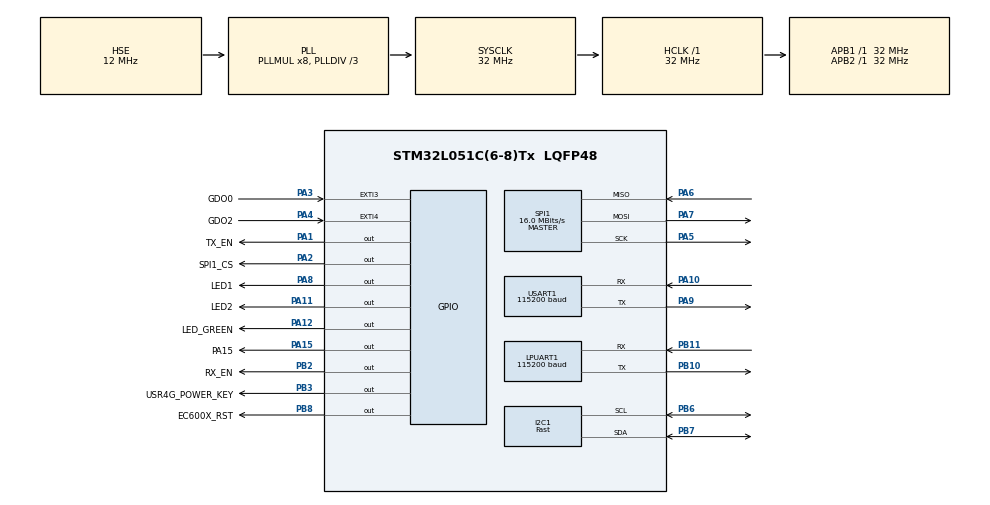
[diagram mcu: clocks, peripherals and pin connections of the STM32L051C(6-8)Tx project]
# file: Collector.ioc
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CRC.DefaultInitValueUse=DEFAULT_INIT_VALUE_ENABLE
CRC.DefaultPolynomialUse=DEFAULT_POLYNOMIAL_ENABLE
CRC.InputDataFormat=CRC_INPUTDATA_FORMAT_BYTES
CRC.InputDataInversionMode=CRC_INPUTDATA_INVERSION_BYTE
CRC.OutputDataInversionMode=CRC_OUTPUTDATA_INVERSION_ENABLE
Dma.Request0=USART1_RX
Dma.Request1=USART1_TX
Dma.USART1_RX.0.Direction=DMA_PERIPH_TO_MEMORY
Dma.USART1_RX.0.Instance=DMA1_Channel3
Dma.USART1_RX.0.MemDataAlignment=DMA_MDATAALIGN_BYTE
Dma.USART1_RX.0.MemInc=DMA_MINC_ENABLE
Dma.USART1_RX.0.Mode=DMA_CIRCULAR
Dma.USART1_RX.0.PeriphDataAlignment=DMA_PDATAALIGN_BYTE
Dma.USART1_RX.0.PeriphInc=DMA_PINC_DISABLE
Dma.USART1_RX.0.Priority=DMA_PRIORITY_LOW
Dma.USART1_TX.1.Direction=DMA_MEMORY_TO_PERIPH
Dma.USART1_TX.1.Instance=DMA1_Channel2
Dma.USART1_TX.1.MemDataAlignment=DMA_MDATAALIGN_BYTE
Dma.USART1_TX.1.MemInc=DMA_MINC_ENABLE
Dma.USART1_TX.1.Mode=DMA_NORMAL
Dma.USART1_TX.1.PeriphDataAlignment=DMA_PDATAALIGN_BYTE
Dma.USART1_TX.1.PeriphInc=DMA_PINC_DISABLE
Dma.USART1_TX.1.Priority=DMA_PRIORITY_LOW
FREERTOS.BinarySemaphores01=rxBufferBinarySem,Dynamic,NULL
FREERTOS.HEAP_NUMBER=4
FREERTOS.Queues01=usartRxQueue,16,uint32_t,0,Dynamic,NULL,NULL
FREERTOS.Tasks01=usartRxDmaTask,2,128,StartUsartRxDmaTask,Default,NULL,Dynamic,NULL,NULL;iicConvertTask,-2,128,StartIICConvertTask,Default,NULL,Dynamic,NULL,NULL;usartRxCmdTask,0,128,StartUsartRxCmdTask,Default,NULL,Dynamic,NULL,NULL;heartbeatTask,-2,128,StartHeartbeatMonitorTask,Default,NULL,Dynamic,NULL,NULL
FREERTOS.configMINIMAL_STACK_SIZE=128
FREERTOS.configTOTAL_HEAP_SIZE=3072
FREERTOS.configUSE_IDLE_HOOK=1
I2C1.I2C_Rise_Time=300
I2C1.I2C_Speed_Mode=I2C_Fast
I2C1.Timing=0x00C00F2B
IWDG.Prescaler=IWDG_PRESCALER_256
LPTIM1.ClockPrescaler=LPTIM_PRESCALER_DIV128
LPUART1.BaudRate=115200
LPUART1.OneBitSampling=UART_ONE_BIT_SAMPLE_DISABLE
LPUART1.WordLength=UART_WORDLENGTH_8B
Mcu.Family=STM32L0
Mcu.Name=STM32L051C(6-8)Tx
Mcu.Package=LQFP48
NVIC.DMA1_Channel2_3_IRQn=true\:3\:0\:false\:false\:true\:true\:false\:true\:true
NVIC.EXTI2_3_IRQn=true\:3\:0\:true\:false\:true\:true\:true\:true\:true
NVIC.EXTI4_15_IRQn=true\:3\:0\:true\:false\:true\:true\:true\:true\:true
NVIC.LPTIM1_IRQn=true\:3\:0\:true\:false\:true\:true\:true\:true\:true
NVIC.TIM2_IRQn=true\:3\:0\:true\:false\:true\:false\:false\:true\:true
NVIC.TimeBase=TIM2_IRQn
NVIC.TimeBaseIP=TIM2
NVIC.USART1_IRQn=true\:3\:0\:false\:false\:true\:true\:true\:true\:true
PA1.GPIO_Label=TX_EN
PA1.Signal=GPIO_Output
PA10.Mode=Asynchronous
PA10.Signal=USART1_RX
PA11.GPIO_Label=LED2
PA11.Signal=GPIO_Output
PA12.GPIO_Label=LED_GREEN
PA12.Signal=GPIO_Output
PA13.Mode=Serial_Wire
PA13.Signal=SYS_SWDIO
PA14.Mode=Serial_Wire
PA14.Signal=SYS_SWCLK
PA15.GPIO_Label=PA15
PA15.Signal=GPIO_Output
PA2.GPIO_Label=SPI1_CS
PA2.GPIO_PuPd=GPIO_PULLUP
PA2.PinState=GPIO_PIN_SET
PA2.Signal=GPIO_Output
PA3.GPIO_Label=GDO0
PA3.GPIO_ModeDefaultEXTI=GPIO_MODE_IT_RISING_FALLING
PA3.GPIO_PuPd=GPIO_NOPULL
PA3.Signal=GPXTI3
PA4.GPIO_Label=GDO2
PA4.GPIO_ModeDefaultEXTI=GPIO_MODE_IT_FALLING
PA4.GPIO_PuPd=GPIO_NOPULL
PA4.Signal=GPXTI4
PA5.Mode=Full_Duplex_Master
PA5.Signal=SPI1_SCK
PA6.Mode=Full_Duplex_Master
PA6.Signal=SPI1_MISO
PA7.Mode=Full_Duplex_Master
PA7.Signal=SPI1_MOSI
PA8.GPIO_Label=LED1
PA8.Signal=GPIO_Output
PA9.Mode=Asynchronous
PA9.Signal=USART1_TX
PB10.Mode=Asynchronous
PB10.Signal=LPUART1_TX
PB11.Mode=Asynchronous
PB11.Signal=LPUART1_RX
PB2.GPIO_Label=RX_EN
PB2.GPIO_PuPd=GPIO_NOPULL
PB2.PinState=GPIO_PIN_RESET
PB2.Signal=GPIO_Output
PB3.GPIO_Label=USR4G_POWER_KEY
PB3.GPIO_ModeDefaultOutputPP=GPIO_MODE_OUTPUT_PP
PB3.GPIO_PuPd=GPIO_PULLDOWN
PB3.PinState=GPIO_PIN_SET
PB3.Signal=GPIO_Output
PB6.Mode=I2C
PB6.Signal=I2C1_SCL
PB7.Mode=I2C
PB7.Signal=I2C1_SDA
PB8.GPIO_Label=EC600X_RST
PB8.GPIO_PuPd=GPIO_PULLUP
PB8.PinState=GPIO_PIN_SET
PB8.Signal=GPIO_Output
PC14-OSC32_IN.Mode=LSE-External-Oscillator
PC14-OSC32_IN.Signal=RCC_OSC32_IN
PC15-OSC32_OUT.Mode=LSE-External-Oscillator
PC15-OSC32_OUT.Signal=RCC_OSC32_OUT
PH0-OSC_IN.Mode=HSE-External-Oscillator
PH0-OSC_IN.Signal=RCC_OSC_IN
PH1-OSC_OUT.Mode=HSE-External-Oscillator
PH1-OSC_OUT.Signal=RCC_OSC_OUT
ProjectManager.HeapSize=0x200
ProjectManager.StackSize=0x400
ProjectManager.TargetToolchain=MDK-ARM V5.27
RCC.AHBFreq_Value=32000000
RCC.APB1Freq_Value=32000000
RCC.APB1TimFreq_Value=32000000
RCC.APB2Freq_Value=32000000
RCC.APB2TimFreq_Value=32000000
RCC.HCLKFreq_Value=32000000
RCC.HSE_VALUE=12000000
RCC.HSI16_VALUE=16000000
RCC.HSI_VALUE=16000000
RCC.LptimClockSelection=RCC_LPTIM1CLKSOURCE_LSE
RCC.MSI_VALUE=2097000
RCC.PLLDIV=RCC_PLLDIV_3
RCC.PLLMUL=RCC_PLLMUL_8
RCC.PLLSourceVirtual=RCC_PLLSOURCE_HSE
RCC.RTCClockSelection=RCC_RTCCLKSOURCE_LSE
RCC.RTCClockSelectionVirtual=RCC_RTCCLKSOURCE_LSE
RCC.SYSCLKFreq_VALUE=32000000
RCC.SYSCLKSource=RCC_SYSCLKSOURCE_PLLCLK
RCC.VCOOutputFreq_Value=96000000
RTC.Format=RTC_FORMAT_BIN
SPI1.BaudRatePrescaler=SPI_BAUDRATEPRESCALER_2
SPI1.CalculateBaudRate=16.0 MBits/s
SPI1.Direction=SPI_DIRECTION_2LINES
SPI1.Mode=SPI_MODE_MASTER
SPI1.VirtualType=VM_MASTER
USART1.BaudRate=115200
USART1.VirtualMode-Asynchronous=VM_ASYNC
VP_CRC_VS_CRC.Mode=CRC_Activate
VP_FREERTOS_VS_CMSIS_V1.Mode=CMSIS_V1
VP_IWDG_VS_IWDG.Mode=IWDG_Activate
VP_LPTIM1_VS_LPTIM_counterModeInternalClock.Mode=Counts__internal_clock_event_00
VP_RTC_VS_RTC_Activate.Mode=RTC_Enabled
VP_RTC_VS_RTC_Calendar.Mode=RTC_Calendar
VP_SYS_VS_tim2.Mode=TIM2
board=custom

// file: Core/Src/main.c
/* USER CODE BEGIN Header */
/**
 ******************************************************************************
 * @file           : main.c
 * @brief          : Main program body
 ******************************************************************************
 * @attention
 *
 * <h2><center>&copy; Copyright (c) 2022 STMicroelectronics.
 * All rights reserved.</center></h2>
 *
 * This software component is licensed by ST under Ultimate Liberty license
 * SLA0044, the "License"; You may not use this file except in compliance with
 * the License. You may obtain a copy of the License at:
 *                             www.st.com/SLA0044
 *
 ******************************************************************************
 */
/* USER CODE END Header */
#include "main.h"
#include "cmsis_os.h"
#include "crc.h"
#include "dma.h"
#include "i2c.h"
#include "iwdg.h"
#include "lptim.h"
#include "usart.h"
#include "rtc.h"
#include "spi.h"
#include "gpio.h"

/* USER CODE BEGIN Includes */
#include "cc1101.h"
/* USER CODE END Includes */

/* USER CODE BEGIN PD */
__IO uint32_t CollectorID;
/* USER CODE END PD */

void SystemClock_Config(void);
void MX_FREERTOS_Init(void);

int main(void)
{

  /* MCU Configuration--------------------------------------------------------*/

  /* Reset of all peripherals, Initializes the Flash interface and the Systick. */
  HAL_Init();

  /* Configure the system clock */
  SystemClock_Config();

  /* USER CODE BEGIN SysInit */
  // MX_DMA_Init(); must before MX_USART1_UART_Init(); or MX_LPUART1_UART_Init();
  /* USER CODE END SysInit */

  /* Initialize all configured peripherals */
  MX_GPIO_Init();
  MX_DMA_Init();
  MX_USART1_UART_Init();
  MX_SPI1_Init();
  MX_IWDG_Init();
  MX_RTC_Init();
  MX_CRC_Init();
  MX_LPUART1_UART_Init();
  MX_I2C1_Init();
  MX_LPTIM1_Init();
  /* USER CODE BEGIN 2 */
  SystemInitial();
  /* USER CODE END 2 */

  /* Call init function for freertos objects (in cmsis_os2.c) */
  MX_FREERTOS_Init();

  /* Start scheduler */
  osKernelStart();

  /* We should never get here as control is now taken by the scheduler */

  /* Infinite loop */
  while (1)
  {

  }
}

void SystemClock_Config(void)
{
  RCC_OscInitTypeDef RCC_OscInitStruct = {0};
  RCC_ClkInitTypeDef RCC_ClkInitStruct = {0};
  RCC_PeriphCLKInitTypeDef PeriphClkInit = {0};

  /** Configure the main internal regulator output voltage
  */
  __HAL_PWR_VOLTAGESCALING_CONFIG(PWR_REGULATOR_VOLTAGE_SCALE1);

  /** Configure LSE Drive Capability
  */
  HAL_PWR_EnableBkUpAccess();
  __HAL_RCC_LSEDRIVE_CONFIG(RCC_LSEDRIVE_LOW);

  /** Initializes the RCC Oscillators according to the specified parameters
  * in the RCC_OscInitTypeDef structure.
  */
  RCC_OscInitStruct.OscillatorType = RCC_OSCILLATORTYPE_LSI|RCC_OSCILLATORTYPE_HSE
                              |RCC_OSCILLATORTYPE_LSE;
  RCC_OscInitStruct.HSEState = RCC_HSE_ON;
  RCC_OscInitStruct.LSEState = RCC_LSE_ON;
  RCC_OscInitStruct.LSIState = RCC_LSI_ON;
  RCC_OscInitStruct.PLL.PLLState = RCC_PLL_ON;
  RCC_OscInitStruct.PLL.PLLSource = RCC_PLLSOURCE_HSE;
  RCC_OscInitStruct.PLL.PLLMUL = RCC_PLLMUL_8;
  RCC_OscInitStruct.PLL.PLLDIV = RCC_PLLDIV_3;
  if (HAL_RCC_OscConfig(&RCC_OscInitStruct) != HAL_OK)
  {
    Error_Handler();
  }

  /** Initializes the CPU, AHB and APB buses clocks
  */
  RCC_ClkInitStruct.ClockType = RCC_CLOCKTYPE_HCLK|RCC_CLOCKTYPE_SYSCLK
                              |RCC_CLOCKTYPE_PCLK1|RCC_CLOCKTYPE_PCLK2;
  RCC_ClkInitStruct.SYSCLKSource = RCC_SYSCLKSOURCE_PLLCLK;
  RCC_ClkInitStruct.AHBCLKDivider = RCC_SYSCLK_DIV1;
  RCC_ClkInitStruct.APB1CLKDivider = RCC_HCLK_DIV1;
  RCC_ClkInitStruct.APB2CLKDivider = RCC_HCLK_DIV1;

  if (HAL_RCC_ClockConfig(&RCC_ClkInitStruct, FLASH_LATENCY_1) != HAL_OK)
  {
    Error_Handler();
  }
  PeriphClkInit.PeriphClockSelection = RCC_PERIPHCLK_USART1|RCC_PERIPHCLK_LPUART1
                              |RCC_PERIPHCLK_I2C1|RCC_PERIPHCLK_RTC
                              |RCC_PERIPHCLK_LPTIM1;
  PeriphClkInit.Usart1ClockSelection = RCC_USART1CLKSOURCE_PCLK2;
  PeriphClkInit.Lpuart1ClockSelection = RCC_LPUART1CLKSOURCE_PCLK1;
  PeriphClkInit.I2c1ClockSelection = RCC_I2C1CLKSOURCE_PCLK1;
  PeriphClkInit.RTCClockSelection = RCC_RTCCLKSOURCE_LSE;
  PeriphClkInit.LptimClockSelection = RCC_LPTIM1CLKSOURCE_LSE;

  if (HAL_RCCEx_PeriphCLKConfig(&PeriphClkInit) != HAL_OK)
  {
    Error_Handler();
  }
}

/* USER CODE BEGIN 4 */
// ##################################################################################################################
void SystemInitial(void)
{
  Activate_SPI();

  if (HAL_IWDG_Refresh(&hiwdg) != HAL_OK)
  {
    Error_Handler();
  }

  ModuleLtePowerOn();
  CollectorID = DATAEEPROM_Read(EEPROM_START_ADDR);
  CC1101_POWER_ON();
  RFIDInitial(0xEF, 0x1234, RX_MODE);
  HAL_Delay(10000);

  if (HAL_IWDG_Refresh(&hiwdg) != HAL_OK)
  {
    Error_Handler();
  }

  HAL_Delay(10000);

  if (HAL_IWDG_Refresh(&hiwdg) != HAL_OK)
  {
    Error_Handler();
  }
}
// ##################################################################################################################
void ShowMessage(void)
{
  /* Print Open Massage */
  printf("######################################################################\n");
  printf("#------------------Collector Program Start Running-------------------#\n");
  printf("#------------------------CollectorID:%08x------------------------#\n", CollectorID);
  printf("#--------------Using LPUART1,Configuration:%d 8-N-1--------------#\n", 115200);
  printf("#USART RX Method: DMA HT & TC + USART IDLE LINE IRQ + RTOS processing#\n");
  printf("######################################################################\n");
}
// ##################################################################################################################
void ModuleLtePowerOn(void)
{
  USR4G_POWER_KEY_OFF();
  HAL_Delay(2000);
  USR4G_POWER_KEY_ON();
  printf("##LTE Module Power On Complete##\n");
}
// ##################################################################################################################
void strcatArray(uint8_t *dest, uint8_t *src, uint8_t position, uint8_t srclen)
{
  if (srclen == 0x00)
  {
    for (uint8_t i = 0; i < sizeof(src); i++)
      dest[i + position] = src[i];
  }
  else
  {
    for (uint8_t i = 0; i < srclen; i++)
      dest[i + position] = src[i];
  }
}
// ##################################################################################################################
uint8_t AsciiToHex(uint8_t *pAscii, uint8_t *pHex, uint16_t nLen)
{
  uint16_t nHexLen = nLen / 2;
  uint8_t Nibble[2] = {0};
  uint16_t i = 0;
  uint16_t j = 0;

  if (nLen % 2)
  {
    return 1;
  }

  for (i = 0; i < nHexLen; i++)
  {
    Nibble[0] = *pAscii++;
    Nibble[1] = *pAscii++;

    for (j = 0; j < 2; j++)
    {
      if (Nibble[j] <= 'F' && Nibble[j] >= 'A')
        Nibble[j] = Nibble[j] - 'A' + 10;
      else if (Nibble[j] <= 'f' && Nibble[j] >= 'a')
        Nibble[j] = Nibble[j] - 'a' + 10;
      else if (Nibble[j] >= '0' && Nibble[j] <= '9')
        Nibble[j] = Nibble[j] - '0';
      else
        return 1; // Nibble[j] = Nibble[j] - 'a' + 10;

    } // for (int j = ...)

    pHex[i] = Nibble[0] << 4; // Set the high nibble
    pHex[i] |= Nibble[1];     // Set the low nibble
  } // for (int i = ...)

  return 0;
}
// ##################################################################################################################
void DATAEEPROM_Program(uint32_t Address, uint32_t Data)
{
  /* Unlocks the data memory and FLASH_PECR register access *************/
  if (HAL_FLASHEx_DATAEEPROM_Unlock() != HAL_OK)
  {
    Error_Handler();
  }

  /* Clear FLASH error pending bits */
  __HAL_FLASH_CLEAR_FLAG(FLASH_FLAG_WRPERR | FLASH_FLAG_SIZERR |
                         FLASH_FLAG_OPTVERR | FLASH_FLAG_RDERR |
                         FLASH_FLAG_FWWERR | FLASH_FLAG_NOTZEROERR);

  /*Erase a word in data memory *************/
  if (HAL_FLASHEx_DATAEEPROM_Erase(Address) != HAL_OK)
  {
    Error_Handler();
  }

  /*Enable DATA EEPROM fixed Time programming (2*Tprog) *************/
  HAL_FLASHEx_DATAEEPROM_EnableFixedTimeProgram();

  /* Program word at a specified address *************/
  if (HAL_FLASHEx_DATAEEPROM_Program(FLASH_TYPEPROGRAMDATA_WORD, Address, Data) != HAL_OK)
  {
    Error_Handler();
  }

  /*Disables DATA EEPROM fixed Time programming (2*Tprog) *************/
  HAL_FLASHEx_DATAEEPROM_DisableFixedTimeProgram();

  /* Locks the Data memory and FLASH_PECR register access. (recommended
   to protect the DATA_EEPROM against possible unwanted operation) *********/
  HAL_FLASHEx_DATAEEPROM_Lock();
}
// ##################################################################################################################
uint32_t DATAEEPROM_Read(uint32_t Address)
{
  return *(__IO uint32_t *)Address;
}
// ##################################################################################################################
void LED_Blinking(uint32_t Period)
{
  /* Toggle LED in an infinite loop */
  while (1)
  {
    LED_GREEN_TOG();
    HAL_Delay(Period);
  }
}
// ##################################################################################################################
/* USER CODE END 4 */

void HAL_TIM_PeriodElapsedCallback(TIM_HandleTypeDef *htim)
{
  if (htim->Instance == TIM2)
  {
    HAL_IncTick();
  }
}

void Error_Handler(void)
{
  /* USER CODE BEGIN Error_Handler_Debug */
  _Error_Handler(__FILE__, __LINE__);
  LED_Blinking(200);
  /* User can add his own implementation to report the HAL error return state */
  __disable_irq();

  while (1)
  {
  }

  /* USER CODE END Error_Handler_Debug */
}

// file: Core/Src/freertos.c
/* USER CODE BEGIN Header */
/**
 ******************************************************************************
 * File Name          : freertos.c
 * Description        : Code for freertos applications
 ******************************************************************************
 * @attention
 *
 * <h2><center>&copy; Copyright (c) 2022 STMicroelectronics.
 * All rights reserved.</center></h2>
 *
 * This software component is licensed by ST under Ultimate Liberty license
 * SLA0044, the "License"; You may not use this file except in compliance with
 * the License. You may obtain a copy of the License at:
 *                             www.st.com/SLA0044
 *
 ******************************************************************************
 */
/* USER CODE END Header */

#include "FreeRTOS.h"
#include "task.h"
#include "main.h"
#include "cmsis_os.h"

/* USER CODE BEGIN Includes */
#include "gpio.h"
#include "rtc.h"
#include "iwdg.h"
#include "usart.h"
#include "crc.h"
#include "cc1101.h"
#include "sgm58031.h"
#include "lptim.h"
#include <string.h>
/* USER CODE END Includes */

/* USER CODE BEGIN PD */
#define EEPROM_DATA_LENGTH 16         // buffer length
#define _SEND_TO_CLOUD_BUFFERSIZE 256 // tx buffer size
#define _ADC_VALUE_BUFFERSIZE 9       // ADC value buffer size
#define _COLLECTOR_ID_SIZE 4          // collectorID size
#define _FUNCTION_ID_SIZE 1           // functionID size
#define _UTC_TIME_SIZE 7              // UTC time size
#define _TAIL_SIZE 2                  // tail size
static uint8_t collectorIDBuffer[_COLLECTOR_ID_SIZE];
static uint8_t tailBuffer[2] = {0x0D, 0x0A};
static uint8_t sendToCloudBuffer[_SEND_TO_CLOUD_BUFFERSIZE];
static uint8_t adcValueBuffer[_ADC_VALUE_BUFFERSIZE];
static uint16_t TwoHoursCnt = 0;
static uint16_t TwentyMinutesCnt = 0;
static bool flip_sign = true;
#define HEARTBEAT_TIMEOUT_MS (10 * 60 * 1000) // 10分钟
static uint32_t lastHeartbeatTick = 0;
/* USER CODE END PD */

/* USER CODE BEGIN PM */
#define _FIFO_SAMPLES_LEN 900
#define _AXIS_LEN 150
typedef struct
{
    int16_t x;
    int16_t y;
    int16_t z;
} axis_info_t;

axis_info_t three_axis_info[_AXIS_LEN];
uint8_t fifo[_FIFO_SAMPLES_LEN];
/* USER CODE END PM */

osThreadId usartRxDmaTaskHandle;
osThreadId iicConvertTaskHandle;
osThreadId usartRxCmdTaskHandle;
osThreadId heartbeatTaskHandle;
osMessageQId usartRxQueueHandle;
osSemaphoreId rxBufferBinarySemHandle;

/* USER CODE BEGIN FunctionPrototypes */
void EepromCtrl(uint8_t *command);
void FunctionCtrl(uint8_t *command);
void SendToCloud(uint8_t functionID, uint8_t length);
void FireWater(uint8_t length);
/* USER CODE END FunctionPrototypes */

void StartUsartRxDmaTask(void const *argument);
void StartIICConvertTask(void const *argument);
void StartUsartRxCmdTask(void const *argument);
void StartHeartbeatMonitorTask(void const *argument);

void MX_FREERTOS_Init(void); /* (MISRA C 2004 rule 8.1) */

/* GetIdleTaskMemory prototype (linked to static allocation support) */
void vApplicationGetIdleTaskMemory(StaticTask_t **ppxIdleTaskTCBBuffer, StackType_t **ppxIdleTaskStackBuffer, uint32_t *pulIdleTaskStackSize);

/* Hook prototypes */
void vApplicationIdleHook(void);

/* USER CODE BEGIN 2 */
// 判断是否为心跳包（"Heartbeat"）
static int isHeartbeatPacket(const uint8_t *buf, uint16_t len)
{
    const char heartbeat[] = "Heartbeat";
    return (len == strlen(heartbeat) && memcmp(buf, heartbeat, strlen(heartbeat)) == 0);
}

__weak void vApplicationIdleHook(void)
{
    /* vApplicationIdleHook() will only be called if configUSE_IDLE_HOOK is set
    to 1 in FreeRTOSConfig.h. It will be called on each iteration of the idle
    task. It is essential that code added to this hook function never attempts
    to block in any way (for example, call xQueueReceive() with a block time
    specified, or call vTaskDelay()). If the application makes use of the
    vTaskDelete() API function (as this demo application does) then it is also
    important that vApplicationIdleHook() is permitted to return to its calling
    function, because it is the responsibility of the idle task to clean up
    memory allocated by the kernel to any task that has since been deleted. */
    SendToCloud(CC1101RecvHandler(), cc1101.length);

    if (HAL_IWDG_Refresh(&hiwdg) != HAL_OK)
    {
        Error_Handler();
    }
}
/* USER CODE END 2 */

/* USER CODE BEGIN GET_IDLE_TASK_MEMORY */
static StaticTask_t xIdleTaskTCBBuffer;
static StackType_t xIdleStack[configMINIMAL_STACK_SIZE];

void vApplicationGetIdleTaskMemory(StaticTask_t **ppxIdleTaskTCBBuffer, StackType_t **ppxIdleTaskStackBuffer, uint32_t *pulIdleTaskStackSize)
{
    *ppxIdleTaskTCBBuffer = &xIdleTaskTCBBuffer;
    *ppxIdleTaskStackBuffer = &xIdleStack[0];
    *pulIdleTaskStackSize = configMINIMAL_STACK_SIZE;
    /* place for user code */
}
/* USER CODE END GET_IDLE_TASK_MEMORY */

void MX_FREERTOS_Init(void)
{
    /* USER CODE BEGIN Init */
    collectorIDBuffer[0] = (uint8_t)(0xFF & CollectorID >> 24);
    collectorIDBuffer[1] = (uint8_t)(0xFF & CollectorID >> 16);
    collectorIDBuffer[2] = (uint8_t)(0xFF & CollectorID >> 8);
    collectorIDBuffer[3] = (uint8_t)(0xFF & CollectorID);
    /* USER CODE END Init */

    /* Create the semaphores(s) */
    /* definition and creation of rxBufferBinarySem */
    osSemaphoreDef(rxBufferBinarySem);
    rxBufferBinarySemHandle = osSemaphoreCreate(osSemaphore(rxBufferBinarySem), 1);

    /* Create the queue(s) */
    /* definition and creation of usartRxQueue */
    osMessageQDef(usartRxQueue, 16, uint32_t);
    usartRxQueueHandle = osMessageCreate(osMessageQ(usartRxQueue), NULL);

    /* Create the thread(s) */
    /* definition and creation of usartRxDmaTask */
    osThreadDef(usartRxDmaTask, StartUsartRxDmaTask, osPriorityHigh, 0, 128);
    usartRxDmaTaskHandle = osThreadCreate(osThread(usartRxDmaTask), NULL);

    /* definition and creation of iicConvertTask */
    osThreadDef(iicConvertTask, StartIICConvertTask, osPriorityLow, 0, 128);
    iicConvertTaskHandle = osThreadCreate(osThread(iicConvertTask), NULL);

    /* definition and creation of usartRxCmdTask */
    osThreadDef(usartRxCmdTask, StartUsartRxCmdTask, osPriorityNormal, 0, 128);
    usartRxCmdTaskHandle = osThreadCreate(osThread(usartRxCmdTask), NULL);

    /* definition and creation of heartbeatTask */
    osThreadDef(heartbeatTask, StartHeartbeatMonitorTask, osPriorityLow, 0, 128);
    heartbeatTaskHandle = osThreadCreate(osThread(heartbeatTask), NULL);

    /* USER CODE BEGIN RTOS_THREADS */
    /* add threads, ... */
    // follow code must be here!!!!!!
    ec600x_usart_init();
    Enable_LPUART1();
    memset(&lte, 0, sizeof(lte));
    ShowMessage();

#if (_SGM58031 == 1)

    flip_sign = true;

    if (SGM58031_Init(SGM58031_ADDR) != SGM58031_OK)
    {
        /* Initialization false */
        printf("#----sgm58031 initial false~!----#\n");
    }

#endif

    HAL_LPTIM_Counter_Start_IT(&hlptim1, 0x3FF);
    /* USER CODE END RTOS_THREADS */
}

void StartUsartRxDmaTask(void const *argument)
{
    /* USER CODE BEGIN StartUsartRxDmaTask */
    /* Infinite loop */
    for (;;)
    {
        /* Block thread and wait for event to process USART data */
        osMessageGet(usartRxQueueHandle, osWaitForever);

        /* Simply call processing function */
        ec600x_usart_rx_check();
    }

    /* USER CODE END StartUsartRxDmaTask */
}

void StartIICConvertTask(void const *argument)
{
    /* USER CODE BEGIN StartIICConvertTask */
    uint16_t adcValue;

    /* Infinite loop */
    for (;;)
    {
        if (secITStatus == SET)
        {
            LED1_TOG();
            TwoHoursCnt++;
            TwentyMinutesCnt++;

            if (TwoHoursCnt >= 1800)
            {
                CC1101_POWER_DOWN();
                osDelay(100);
                CC1101_POWER_ON();
                RFIDInitial(0xEF, 0x1234, RX_MODE);
                ModuleLtePowerOn();
                TwoHoursCnt = 0;
            }

#if (_SGM58031 == 1)

            if (TwentyMinutesCnt >= 300)
            {
                /*##-1- read the OS of Configuration Register #####################################*/
                if (SGM58031_ReadReg(SGM58031_ADDR, SGM58031_CONF_REG) >> 15 == 1)
                {
                    adcValue = SGM58031_ReadReg(SGM58031_ADDR, SGM58031_CONVERSION_REG);
                    debug_printf("adcValue = %.3f\n", ((float)adcValue / 32768) * 4.096);

                    strcatArray(adcValueBuffer, collectorIDBuffer, 0, 0);
                    adcValueBuffer[4] = 0xB2;

                    if (flip_sign == true)
                    {
                        adcValueBuffer[5] = (uint8_t)(adcValue >> 8);
                        adcValueBuffer[6] = (uint8_t)adcValue;
                    }
                    else
                    {
                        adcValueBuffer[7] = (uint8_t)(adcValue >> 8);
                        adcValueBuffer[8] = (uint8_t)adcValue;
                    }

                    //                for(uint8_t i = 0; i < _ADC_VALUE_BUFFERSIZE; i++)
                    //                {
                    //                    printf("%02x ", adcValueBuffer[i]);
                    //                }

                    //                printf("\r\n");
                }

                /*##-2- Initialise the SGM58031 peripheral ####################################*/
                if (flip_sign == true)
                {
                    SGM58031_ConfigReg(Start_Single_Conversion, AINP_AIN0_AND_AINN_AIN1, FS_4_096V, Single_Shot_Mode, DR_800Hz_960Hz, Traditional_Comparator, Active_Low, Non_Latching, Disable_Comparator, DR_SEL0);
                }
                else
                {
                    SGM58031_ConfigReg(Start_Single_Conversion, AINP_AIN2_AND_AINN_AIN3, FS_4_096V, Single_Shot_Mode, DR_800Hz_960Hz, Traditional_Comparator, Active_Low, Non_Latching, Disable_Comparator, DR_SEL0);
                }

                flip_sign = !flip_sign;

                /*##-3- Set the Configuration Register #####################################*/
                if (SGM58031_WriteReg(SGM58031_ADDR, SGM58031_CONF_REG, SGM58031_InitStructure.Config_Register_Value) != SGM58031_OK)
                {
                    Error_Handler();
                }

                if (flip_sign == true)
                {
                    ec600x_usart_send_data((uint8_t *)adcValueBuffer, _ADC_VALUE_BUFFERSIZE);
                    TwentyMinutesCnt = 0;
                }
            }

#endif

            secITStatus = RESET;
        }

        osDelay(1);
    }

    /* USER CODE END StartIICConvertTask */
}

void StartUsartRxCmdTask(void const *argument)
{
    /* USER CODE BEGIN StartUsartRxCmdTask */
    for (;;)
    {
        debug_printf("[DEBUG] 等待rxBufferBinarySemHandle信号量...\n");
        osSemaphoreWait(rxBufferBinarySemHandle, osWaitForever);
        debug_printf("[DEBUG] 收到rxBufferBinarySemHandle信号量\n");
        LED2_ON();
        lwrb_read(&ec600x_usart_rx_rb, lte.rxBuffer, lte.rxCounter);

        debug_printf("rxBuffer =");

        for (uint8_t i = 0; i < lte.rxCounter; i++)
        {
            debug_printf(" %x", lte.rxBuffer[i]);
        }

        debug_printf("\nrxCounter = %d\n", lte.rxCounter);

        // ####################### 新增心跳包超时重启逻辑 BEGIN #######################
        if (isHeartbeatPacket(lte.rxBuffer, lte.rxCounter))
        {
            lastHeartbeatTick = xTaskGetTickCount();
            debug_printf("[DEBUG] 收到心跳包，重置心跳定时器\n");
        }
        // ####################### 新增心跳包超时重启逻辑 END #######################

        if (AsciiToHex(lte.rxBuffer, lte.rxHexBuffer, lte.rxCounter) == 0)
        {
            debug_printf("rxHexBuffer =");

            for (uint8_t i = 0; i < lte.rxCounter / 2; i++)
            {
                debug_printf(" %x", lte.rxHexBuffer[i]);
            }

            if (lte.rxHexBuffer[0] == 0xE5 && lte.rxHexBuffer[1] == 0x5E)
            {
                printf("##Header Right##\r\n");
                EepromCtrl(lte.rxHexBuffer);
            }
            else if ((lte.rxHexBuffer[0] == collectorIDBuffer[0]) && (lte.rxHexBuffer[1] == collectorIDBuffer[1]) && (lte.rxHexBuffer[2] == collectorIDBuffer[2]) && (lte.rxHexBuffer[3] == collectorIDBuffer[3]))
            {
                printf("##CollectorID Right##\r\n");
                FunctionCtrl(lte.rxHexBuffer);
            }
        }

        memset(&lte, 0, sizeof(lte));
        LED2_OFF();
    }

    /* USER CODE END StartUsartRxCmdTask */
}

void StartHeartbeatMonitorTask(void const *argument)
{
    /* USER CODE BEGIN StartHeartbeatMonitorTask */
    // 启动时就开始计时
    lastHeartbeatTick = xTaskGetTickCount();
    /* Infinite loop */
    for (;;)
    {
        uint32_t now = xTaskGetTickCount();
        if ((now - lastHeartbeatTick) > (HEARTBEAT_TIMEOUT_MS / portTICK_PERIOD_MS))
        {
            debug_printf("[DEBUG] 超过10分钟未收到心跳包，触发EC600X_RST_OFF()\n");
            EC600X_RST_OFF();
            osDelay(500);
            EC600X_RST_ON();
            lastHeartbeatTick = now; // 防止重复触发
        }
        osDelay(1000); // 每秒检查一次

        /* USER CODE END StartHeartbeatMonitorTask */
    }
}

/* USER CODE BEGIN Application */
/*===========================================================================
* EepromCtrl(uint8_t *command) => handle PC command                    	*
============================================================================*/
void EepromCtrl(uint8_t *command)
{
    uint32_t address, data;

    address = (uint32_t)(0x0000FF00 & command[3] << 8) + (uint32_t)(0x000000FF & command[4]);
    data = (uint32_t)(0xFF000000 & command[5] << 24) + (uint32_t)(0x00FF0000 & command[6] << 16) + (uint32_t)(0x0000FF00 & command[7] << 8) + (uint32_t)(0x000000FF & command[8]);

    if (command[2] == 0x01) // write
    {
        DATAEEPROM_Program(EEPROM_START_ADDR + address, data);
        printf("##Write Memory Complete##\r\n");
    }
    else if (command[2] == 0x02) // read
    {
        printf("%08x\n", DATAEEPROM_Read(EEPROM_START_ADDR + address));
        printf("##Read Memory Complete##\r\n");
    }
    else if (command[2] == 0x03) // erase
    {
        DATAEEPROM_Program(EEPROM_START_ADDR + address, 0);
        printf("##Erase Memory Complete##\r\n");
    }
}

/*===========================================================================
* FunctionCtrl(uint8_t *command) => handle PC command                    	*
============================================================================*/
void FunctionCtrl(uint8_t *command)
{
    uint8_t timeBuffer[3];
    uint8_t dateBuffer[4];

    /*A8:configure time information*/
    /*A9:read time information*/
    if (command[4] == 0xA0)
    {
        printf("##System Reset##\r\n");
        __disable_irq();
        NVIC_SystemReset();
    }
    else if (command[4] == 0xA8)
    {
        for (uint8_t i = 0; i < 3; i++)
        {
            timeBuffer[i] = command[9 + i];
        }

        for (uint8_t i = 0; i < 4; i++)
        {
            dateBuffer[i] = command[5 + i];
        }

        SetRTC(timeBuffer, dateBuffer);
        GetRTC(timeBuffer, dateBuffer);
        //        SendToCloud(command[4], _COLLECTOR_ID_SIZE + _FUNCTION_ID_SIZE + _UTC_TIME_SIZE + _TAIL_SIZE);
    }
    else if (command[4] == 0xA9)
    {
        GetRTC(timeBuffer, dateBuffer);
        //        SendToCloud(command[4], _COLLECTOR_ID_SIZE + _FUNCTION_ID_SIZE + _UTC_TIME_SIZE + _TAIL_SIZE);
    }
    else
        printf("##FunctionID Unused##\r\n");
}

/*===========================================================================
* void SendToCloud(uint8_t functionID, uint8_t length) => send data to cloud*
============================================================================*/
void SendToCloud(uint8_t functionID, uint8_t length)
{
    uint8_t timeBuffer[3];
    uint8_t dateBuffer[4];
    uint8_t crcBuffer[4];
    uint8_t sendFunctionID;

    if (functionID == 0x30)
    {
        LED1_ON();
        //				FireWater(length);

        GetRTC(timeBuffer, dateBuffer);

        strcatArray(sendToCloudBuffer, collectorIDBuffer, 0, 0);
        sendFunctionID = 0xB0;
        strcatArray(sendToCloudBuffer, &sendFunctionID, _COLLECTOR_ID_SIZE, 0);
        strcatArray(sendToCloudBuffer, cc1101.recvBuffer, _COLLECTOR_ID_SIZE + _FUNCTION_ID_SIZE, length - sizeof(cc1101.crcValue));
        strcatArray(sendToCloudBuffer, &cc1101.rssi, _COLLECTOR_ID_SIZE + _FUNCTION_ID_SIZE + length - sizeof(cc1101.crcValue), 0);
        strcatArray(sendToCloudBuffer, dateBuffer, _COLLECTOR_ID_SIZE + _FUNCTION_ID_SIZE + length - sizeof(cc1101.crcValue) + sizeof(cc1101.rssi), 0);
        strcatArray(sendToCloudBuffer, timeBuffer, _COLLECTOR_ID_SIZE + _FUNCTION_ID_SIZE + length - sizeof(cc1101.crcValue) + sizeof(cc1101.rssi) + sizeof(dateBuffer), 0);

        cc1101.crcValue = ~HAL_CRC_Calculate(&hcrc, (uint32_t *)sendToCloudBuffer, (uint32_t)(_COLLECTOR_ID_SIZE + _FUNCTION_ID_SIZE + length - sizeof(cc1101.crcValue) + sizeof(cc1101.rssi) + _UTC_TIME_SIZE));
        debug_printf("BufferLength = %d\n", _COLLECTOR_ID_SIZE + _FUNCTION_ID_SIZE + length - sizeof(cc1101.crcValue) + sizeof(cc1101.rssi) + _UTC_TIME_SIZE);
        debug_printf("crcValue = %x\n", cc1101.crcValue);
        crcBuffer[0] = (uint8_t)(0xFF & cc1101.crcValue >> 24);
        crcBuffer[1] = (uint8_t)(0xFF & cc1101.crcValue >> 16);
        crcBuffer[2] = (uint8_t)(0xFF & cc1101.crcValue >> 8);
        crcBuffer[3] = (uint8_t)(0xFF & cc1101.crcValue);
        strcatArray(sendToCloudBuffer, crcBuffer, _COLLECTOR_ID_SIZE + _FUNCTION_ID_SIZE + length - sizeof(cc1101.crcValue) + sizeof(cc1101.rssi) + _UTC_TIME_SIZE, 0);
        strcatArray(sendToCloudBuffer, tailBuffer, _COLLECTOR_ID_SIZE + _FUNCTION_ID_SIZE + length + sizeof(cc1101.rssi) + _UTC_TIME_SIZE, 0);

        ec600x_usart_send_data((uint8_t *)sendToCloudBuffer, _COLLECTOR_ID_SIZE + _FUNCTION_ID_SIZE + length + sizeof(cc1101.rssi) + _UTC_TIME_SIZE + _TAIL_SIZE);

        //        for(uint8_t i = 0; i < _COLLECTOR_ID_SIZE + _FUNCTION_ID_SIZE + length + sizeof(cc1101.rssi) + _UTC_TIME_SIZE + _TAIL_SIZE; i++)
        //        {
        //            sendToCloudBuffer[i] = i;
        //        }

        lte_lpuart_send_data((uint8_t *)sendToCloudBuffer, _COLLECTOR_ID_SIZE + _FUNCTION_ID_SIZE + length + sizeof(cc1101.rssi) + _UTC_TIME_SIZE + _TAIL_SIZE);

        //        for(uint8_t i = 0; i < _COLLECTOR_ID_SIZE + _FUNCTION_ID_SIZE + length + sizeof(cc1101.rssi) + _UTC_TIME_SIZE; i++)
        //        {
        //            printf("%02x ", sendToCloudBuffer[i]);
        //        }
        //        printf("\r\n");

        LED1_OFF();
    }
    else if (functionID == 0xA8 || functionID == 0xA9)
    {
        LED1_ON();
        GetRTC(timeBuffer, dateBuffer);
        strcatArray(sendToCloudBuffer, collectorIDBuffer, 0, 0);
        sendFunctionID = 0xB0 + (0x0F & functionID);
        strcatArray(sendToCloudBuffer, &sendFunctionID, _COLLECTOR_ID_SIZE, 0);
        strcatArray(sendToCloudBuffer, dateBuffer, _COLLECTOR_ID_SIZE + _FUNCTION_ID_SIZE, 0);
        strcatArray(sendToCloudBuffer, timeBuffer, _COLLECTOR_ID_SIZE + _FUNCTION_ID_SIZE + sizeof(dateBuffer), 0);
        strcatArray(sendToCloudBuffer, tailBuffer, _COLLECTOR_ID_SIZE + _FUNCTION_ID_SIZE + _UTC_TIME_SIZE, 0);

        ec600x_usart_send_data(sendToCloudBuffer, length);
        lte_lpuart_send_data(sendToCloudBuffer, length);

        //        for(uint8_t i = 0; i < _COLLECTOR_ID_SIZE + _FUNCTION_ID_SIZE + _UTC_TIME_SIZE; i++)
        //        {
        //            printf("%02x ", sendToCloudBuffer[i]);
        //        }
        //        printf("\r\n");
        LED1_OFF();
    }
    else if (functionID == 0x01)
    {
        printf("receive error or address filtering fail\r\n");
    }
    else if (functionID == 0x02)
    {
        printf("rfid receive crc error\r\n");
    }
}

/*===========================================================================
* void FireWater(uint8_t length) => firewater frame
============================================================================*/
void FireWater(uint8_t length)
{
    //    for(uint16_t i = 0; i < (length - 15); i++)
    //    {
    //        debug_printf("fifo[%d] :%x,", i, cc1101.recvBuffer[11 + i]);
    //    }

    // 3.To 16-bit complement
    for (uint16_t i = 0; i < (length - 20 - 18 - 4) / 2; i++)
    {
        if ((cc1101.recvBuffer[20 + 18 + 2 * i + 1] >> 6 & 0x03) == 0x0)
        {
            if ((cc1101.recvBuffer[20 + 18 + 2 * i + 1] & 0x08))
                three_axis_info[i / 3].x = (short int)(cc1101.recvBuffer[20 + 18 + 2 * i] + (0x0f00 & (cc1101.recvBuffer[20 + 18 + 2 * i + 1] << 8)) + 0xf000);
            else
                three_axis_info[i / 3].x = (short int)(cc1101.recvBuffer[20 + 18 + 2 * i] + (0x0f00 & (cc1101.recvBuffer[20 + 18 + 2 * i + 1] << 8)));

            //				rfid_printf("X[%d] = %hd, %hx ", i/3, xAxis[i/3], xAxis[i/3]);
            printf("s[%d]:%d,", i / 3, cc1101.recvBuffer[6]);
            printf("%hd,", three_axis_info[i / 3].x);
        }
        else if ((cc1101.recvBuffer[20 + 18 + 2 * i + 1] >> 6 & 0x03) == 0x1)
        {
            if ((cc1101.recvBuffer[20 + 18 + 2 * i + 1] & 0x08))
                three_axis_info[i / 3].y = (short int)(cc1101.recvBuffer[20 + 18 + 2 * i] + (0x0f00 & (cc1101.recvBuffer[20 + 18 + 2 * i + 1] << 8)) + 0xf000);
            else
                three_axis_info[i / 3].y = (short int)(cc1101.recvBuffer[20 + 18 + 2 * i] + (0x0f00 & (cc1101.recvBuffer[20 + 18 + 2 * i + 1] << 8)));

            //				rfid_printf("Y[%d] = %hd, %hx ", i/3, yAxis[i/3], yAxis[i/3]);
            printf("%hd,", three_axis_info[i / 3].y);
        }
        else if ((cc1101.recvBuffer[20 + 18 + 2 * i + 1] >> 6 & 0x03) == 0x2)
        {
            if ((cc1101.recvBuffer[20 + 18 + 2 * i + 1] & 0x08))
                three_axis_info[i / 3].z = (short int)(cc1101.recvBuffer[20 + 18 + 2 * i] + (0x0f00 & (cc1101.recvBuffer[20 + 18 + 2 * i + 1] << 8)) + 0xf000);
            else
                three_axis_info[i / 3].z = (short int)(cc1101.recvBuffer[20 + 18 + 2 * i] + (0x0f00 & (cc1101.recvBuffer[20 + 18 + 2 * i + 1] << 8)));

            //				rfid_printf("Z[%d] = %hd, %hx\n", i/3, zAxis[i/3], zAxis[i/3]);
            printf("%hd,", three_axis_info[i / 3].z);

            printf("%d,", cc1101.recvBuffer[7] * 50);
            printf("%d,", (uint16_t)(0xFF00 & cc1101.recvBuffer[8] << 8) + (uint16_t)(0x00FF & cc1101.recvBuffer[9]));
            printf("%d,", (uint16_t)(0xFF00 & cc1101.recvBuffer[10] << 8) + (uint16_t)(0x00FF & cc1101.recvBuffer[11]));
            printf("%d,", (uint16_t)(0xFF00 & cc1101.recvBuffer[12] << 8) + (uint16_t)(0x00FF & cc1101.recvBuffer[13]));
            printf("%d,", (uint16_t)(0xFF00 & cc1101.recvBuffer[14] << 8) + (uint16_t)(0x00FF & cc1101.recvBuffer[15]));
            printf("%d,", (uint16_t)(0xFF00 & cc1101.recvBuffer[16] << 8) + (uint16_t)(0x00FF & cc1101.recvBuffer[17]));
            printf("%d,", (uint16_t)(0xFF00 & cc1101.recvBuffer[18] << 8) + (uint16_t)(0x00FF & cc1101.recvBuffer[19]));
            printf("%d,", cc1101.recvBuffer[20]);
            printf("%d,", cc1101.recvBuffer[21]);
            printf("%d,", cc1101.recvBuffer[22]);
            printf("%d,", cc1101.recvBuffer[23]);
            printf("%d,", cc1101.recvBuffer[24]);
            printf("%d,", cc1101.recvBuffer[25]);
            printf("%d,", cc1101.recvBuffer[26]);
            printf("%d,", cc1101.recvBuffer[27]);
            printf("%d,", cc1101.recvBuffer[28]);
            printf("%d,", cc1101.recvBuffer[29]);
            printf("%d,", cc1101.recvBuffer[30]);
            printf("%d,", cc1101.recvBuffer[31]);
            printf("%d,", cc1101.recvBuffer[32]);
            printf("%d,", cc1101.recvBuffer[33]);
            printf("%d,", cc1101.recvBuffer[34]);
            printf("%d,", cc1101.recvBuffer[35]);
            printf("%d,", cc1101.recvBuffer[36]);
            printf("%d\n", cc1101.recvBuffer[37]);
        }
    }
}
/* USER CODE END Application */
